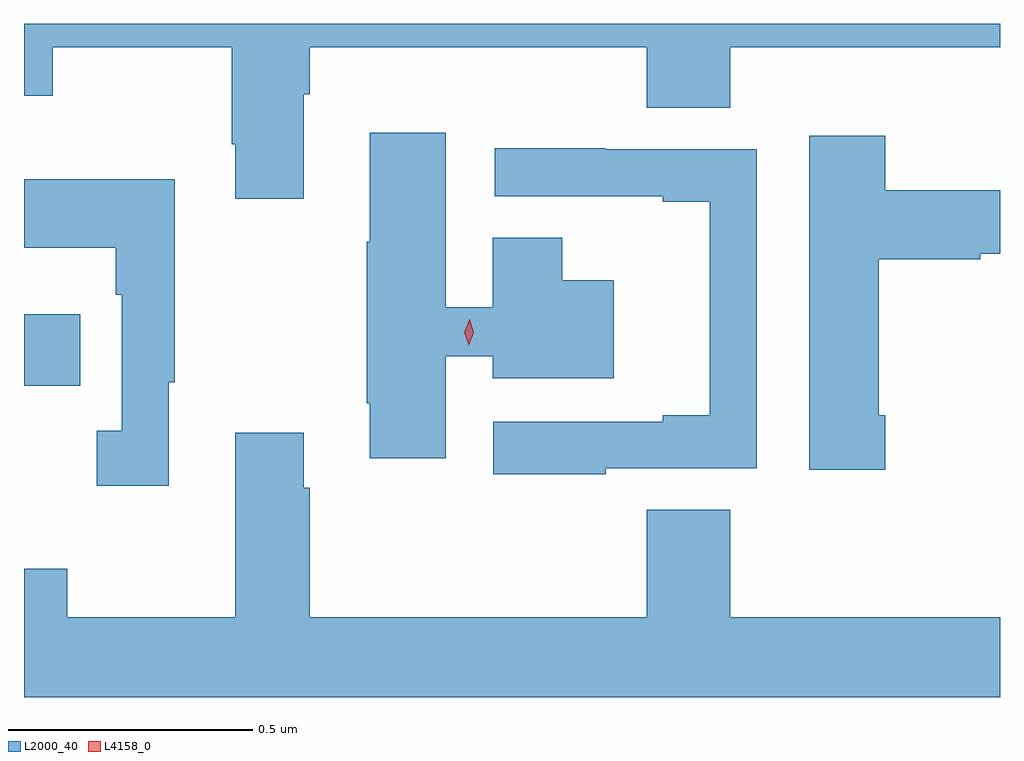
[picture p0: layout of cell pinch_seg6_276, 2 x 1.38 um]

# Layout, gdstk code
import gdstk
lib = gdstk.Library(unit=1e-6, precision=1e-09)
def R(c, l, rs):  # rectangles x0, y0, x1, y1
    for r in rs: c.add(gdstk.rectangle(r[:2], r[2:], *l))
def P(c, l, *ps):  # polygons
    for p in ps: c.add(gdstk.Polygon(p, *l))
L2000_40 = (2000, 40)
L4158_0 = (4158, 0)

pinch_seg6_276 = lib.new_cell('pinch_seg6_276')
R(pinch_seg6_276, L2000_40, [(771.79,997.258,771.905,997.405)])
P(pinch_seg6_276, L2000_40, [(772.363,997.856),(772.376,997.856),(772.376,997.952),(773.066,997.952),(773.066,997.828),(773.237,997.828),(773.237,997.952),(773.79,997.952),(773.79,998),(771.79,998),(771.79,997.853),(771.849,997.853),(771.849,997.952),(772.216,997.952),(772.216,997.753),(772.223,997.753),(772.223,997.641),(772.363,997.641)],
  [(772.654,997.319),(772.751,997.319),(772.751,997.274),(772.999,997.274),(772.999,997.474),(772.893,997.474),(772.893,997.562),(772.751,997.562),(772.751,997.419),(772.654,997.419),(772.654,997.777),(772.499,997.777),(772.499,997.553),(772.492,997.553),(772.492,997.222),(772.499,997.222),(772.499,997.11),(772.654,997.11)],
  [(773.555,997.198),(773.542,997.198),(773.542,997.517),(773.75,997.517),(773.75,997.529),(773.79,997.529),(773.79,997.659),(773.555,997.659),(773.555,997.771),(773.399,997.771),(773.399,997.086),(773.555,997.086)],
  [(772.982,997.089),(773.292,997.089),(773.292,997.743),(772.982,997.743),(772.982,997.745),(772.755,997.745),(772.755,997.647),(773.099,997.647),(773.099,997.635),(773.195,997.635),(773.195,997.198),(773.099,997.198),(773.099,997.185),(772.752,997.185),(772.752,997.077),(772.982,997.077)],
  [(772.087,997.265),(772.099,997.265),(772.099,997.681),(771.79,997.681),(771.79,997.541),(771.978,997.541),(771.978,997.445),(771.99,997.445),(771.99,997.166),(771.939,997.166),(771.939,997.053),(772.087,997.053)],
  [(773.79,996.784),(773.237,996.784),(773.237,997.004),(773.066,997.004),(773.066,996.784),(772.376,996.784),(772.376,997.049),(772.363,997.049),(772.363,997.162),(772.223,997.162),(772.223,996.784),(771.879,996.784),(771.879,996.883),(771.79,996.883),(771.79,996.62),(773.79,996.62)])
P(pinch_seg6_276, L4158_0, [(772.701,997.34),(772.701,997.341),(772.692,997.368),(772.703,997.395),(772.703,997.395),(772.703,997.395),(772.712,997.367),(772.701,997.341)])

lib.write_gds('pinch_seg6_276.gds')
